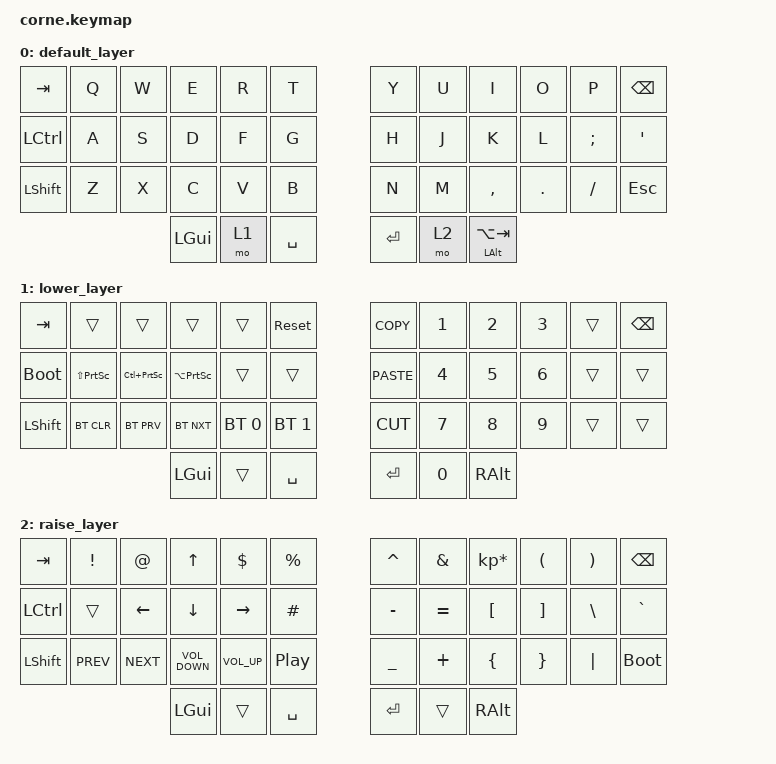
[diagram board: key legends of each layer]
/*
 * Copyright (c) 2020 The ZMK Contributors
 *
 * SPDX-License-Identifier: MIT
 */

#include <behaviors.dtsi>
#include <dt-bindings/zmk/bt.h>
#include <dt-bindings/zmk/keys.h>

/ {
    behaviors {
        tp: tap_preferred {
            compatible = "zmk,behavior-hold-tap";
            label = "TAP_PREFERRED";
            #binding-cells = <2>;
            tapping-term-ms = <150>;
            quick-tap-ms = <0>;
            flavor = "tap-preferred";
            bindings =
                <&kp>,
                <&kp>;
        };
    };

    keymap {
        compatible = "zmk,keymap";

        default_layer {
            // -----------------------------------------------------------------------------------------
            // |  TAB |  Q  |  W  |  E  |  R  |  T  |   |  Y  |  U   |  I  |  O  |  P  | BKSP |
            // | CTRL |  A  |  S  |  D  |  F  |  G  |   |  H  |  J   |  K  |  L  |  ;  |  '   |
            // | SHFT |  Z  |  X  |  C  |  V  |  B  |   |  N  |  M   |  ,  |  .  |  /  | ESC  |
            //                    | GUI | LWR | SPC |   | ENT | RSE  | ALT |

            bindings = <
  &kp TAB  &kp Q  &kp W     &kp E  &kp R      &kp T      &kp Y  &kp U             &kp I    &kp O     &kp P  &kp BACKSPACE
&kp LCTRL  &kp A  &kp S     &kp D  &kp F      &kp G      &kp H  &kp J             &kp K    &kp L  &kp SEMI        &kp SQT
&kp LSHFT  &kp Z  &kp X     &kp C  &kp V      &kp B      &kp N  &kp M         &kp COMMA  &kp DOT  &kp FSLH     &kp ESCAPE
                         &kp LGUI  &mo 1  &kp SPACE    &kp RET  &mo 2  &mt LALT LA(TAB)
            >;
        };

        lower_layer {
            // -----------------------------------------------------------------------------------------
            // |  TAB |  1  |  2  |  3  |  4  |  5  |   |  6  |  7  |  8  |  9  |  0  | BKSP |
            // | BTCLR| BT1 | BT2 | BT3 | BT4 | BT5 |   | LFT | DWN |  UP | RGT |     |      |
            // | SHFT |     |     |     |     |     |   |     |     |     |     |     |      |
            //                    | GUI |     | SPC |   | ENT |     | ALT |

            bindings = <
    &kp TAB               &trans               &trans               &trans        &trans    &sys_reset     &kp K_COPY  &kp NUMBER_1  &kp NUMBER_2        &kp N3  &trans  &kp BSPC
&bootloader  &kp LS(PRINTSCREEN)  &kp LC(PRINTSCREEN)  &kp LA(PRINTSCREEN)        &trans        &trans    &kp K_PASTE        &kp N4        &kp N5  &kp NUMBER_6  &trans    &trans
  &kp LSHFT           &bt BT_CLR           &bt BT_PRV           &bt BT_NXT  &bt BT_SEL 0  &bt BT_SEL 1      &kp K_CUT        &kp N7        &kp N8        &kp N9  &trans    &trans
                                                                  &kp LGUI        &trans     &kp SPACE        &kp RET        &kp N0      &kp RALT
            >;
        };

        raise_layer {
            // -----------------------------------------------------------------------------------------
            // |  TAB |  !  |  @  |  #  |  $  |  %  |   |  ^  |  &  |  *  |  (  |  )  | BKSP |
            // | CTRL |     |     |     |     |     |   |  -  |  =  |  [  |  ]  |  \  |  `   |
            // | SHFT |     |     |     |     |     |   |  _  |  +  |  {  |  }  | "|" |  ~   |
            //                    | GUI |     | SPC |   | ENT |     | ALT |

            bindings = <
  &kp TAB    &kp EXCL          &kp AT       &kp UP_ARROW         &kp DLLR         &kp PRCNT    &kp CARET   &kp AMPS  &kp KP_MULTIPLY  &kp LPAR  &kp RPAR     &kp BSPC
&kp LCTRL      &trans  &kp LEFT_ARROW           &kp DOWN  &kp RIGHT_ARROW          &kp HASH    &kp MINUS  &kp EQUAL         &kp LBKT  &kp RBKT  &kp BSLH    &kp GRAVE
&kp LSHFT  &kp C_PREV      &kp C_NEXT  &kp C_VOLUME_DOWN  &kp C_VOLUME_UP  &kp C_PLAY_PAUSE    &kp UNDER   &kp PLUS         &kp LBRC  &kp RBRC  &kp PIPE  &bootloader
                                                &kp LGUI           &trans         &kp SPACE      &kp RET     &trans         &kp RALT
            >;
        };
    };
};
